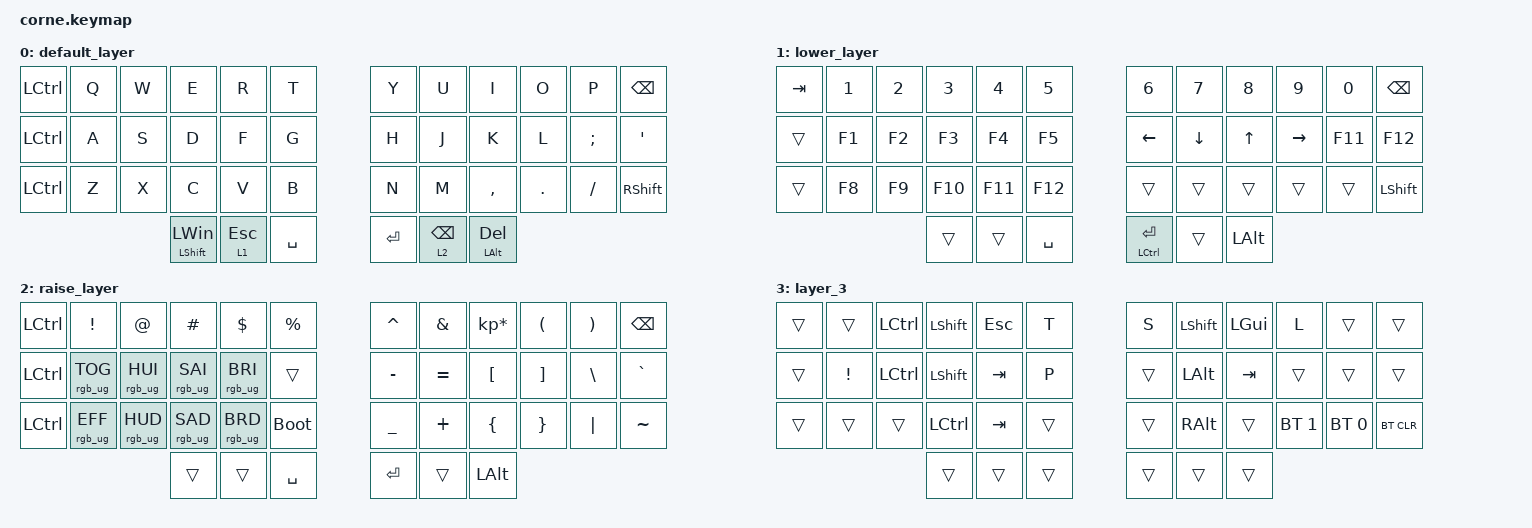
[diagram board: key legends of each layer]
/*
 * Copyright (c) 2020 The ZMK Contributors
 *
 * SPDX-License-Identifier: MIT
 */

#include <behaviors.dtsi>
#include <dt-bindings/zmk/bt.h>
#include <dt-bindings/zmk/keys.h>
#include <dt-bindings/zmk/rgb.h>

&led_strip { chain-length = <27>; };

/ {
    behaviors {
        esc_on_raise: esc_on_raise {
            compatible = "zmk,behavior-hold-tap";
            label = "ESC_ON_RAISE";
            bindings = <&mo>, <&kp>;

            #binding-cells = <2>;
            tapping-term-ms = <150>;
            quick-tap-ms = <50>;
        };

        bkspace_on_tab: bkspace_on_tab {
            compatible = "zmk,behavior-hold-tap";
            label = "BKSPACE_ON_TAB";
            bindings = <&mo>, <&kp>;

            #binding-cells = <2>;
            tapping-term-ms = <150>;
            quick-tap-ms = <50>;
        };

        lguiandshift: lguiandshift {
            compatible = "zmk,behavior-hold-tap";
            label = "LGUIANDSHIFT";
            bindings = <&kp>, <&kp>;

            #binding-cells = <2>;
            tapping-term-ms = <130>;
            quick-tap-ms = <35>;
        };

        control_on_enter: control_on_enter {
            compatible = "zmk,behavior-hold-tap";
            label = "CONTROL_ON_ENTER";
            bindings = <&kp>, <&kp>;

            #binding-cells = <2>;
            tapping-term-ms = <150>;
            flavor = "tap-preferred";
            quick-tap-ms = <50>;
        };

        alt_and_del: alt_and_del {
            compatible = "zmk,behavior-hold-tap";
            label = "ALT_AND_DEL";
            bindings = <&kp>, <&kp>;

            #binding-cells = <2>;
            tapping-term-ms = <150>;
            quick-tap-ms = <50>;
        };
    };

    combos {
        compatible = "zmk,combos";

        layer_3 {
            bindings = <&mo 3>;
            key-positions = <37 40>;
        };
    };

    keymap {
        compatible = "zmk,keymap";

        default_layer {
            // -----------------------------------------------------------------------------------------
            // |  TAB |  Q  |  W  |  E  |  R  |  T  |   |  Y  |  U   |  I  |  O  |  P  | BKSP |
            // | CTRL |  A  |  S  |  D  |  F  |  G  |   |  H  |  J   |  K  |  L  |  ;  |  '   |
            // | SHFT |  Z  |  X  |  C  |  V  |  B  |   |  N  |  M   |  ,  |  .  |  /  | SHFT |
            //                    | GUI | LWR | ENT |   | SPC | RSE  | ALT |

            bindings = <
&kp LEFT_CONTROL  &kp Q  &kp W  &kp E                     &kp R                &kp T        &kp Y       &kp U                        &kp I                         &kp O    &kp P     &kp BSPC
&kp LEFT_CONTROL  &kp A  &kp S  &kp D                     &kp F                &kp G        &kp H       &kp J                        &kp K                         &kp L    &kp SEMI  &kp SQT
&kp LEFT_CONTROL  &kp Z  &kp X  &kp C                     &kp V                &kp B        &kp N       &kp M                        &kp COMMA                     &kp DOT  &kp FSLH  &kp RSHFT
                                &lguiandshift LSHFT LWIN  &esc_on_raise 1 ESC  &kp SPACE    &kp RETURN  &bkspace_on_tab 2 BACKSPACE  &alt_and_del LEFT_ALT DELETE
            >;
        };

        lower_layer {
            // -----------------------------------------------------------------------------------------
            // |  TAB |  1    |  2  |  3  |  4  |  5  |   |  6  |  7  |  8  |  9  |  0  | BKSP |
            // | LCTRL| BTCLR | BT0 | BT1 | BT2 | BT3 |   | LFT | DWN |  UP | RGT |     |      |
            // | ESC  |       | HOME| PGUP| PGDN| END |   |     |     |     |     |     |      |
            //                      | GUI |     | SPC |   | ENT |     | ALT |

            bindings = <
&kp TAB  &kp N1  &kp N2  &kp N3   &kp N4   &kp N5       &kp N6                                &kp N7    &kp N8    &kp N9     &kp N0   &kp BSPC
&trans   &kp F1  &kp F2  &kp F3   &kp F4   &kp F5       &kp LEFT                              &kp DOWN  &kp UP    &kp RIGHT  &kp F11  &kp F12
&trans   &kp F8  &kp F9  &kp F10  &kp F11  &kp F12      &trans                                &trans    &trans    &trans     &trans   &kp LEFT_SHIFT
                         &trans   &trans   &kp SPACE    &control_on_enter LEFT_CONTROL ENTER  &trans    &kp LALT
            >;
        };

        raise_layer {
            // -----------------------------------------------------------------------------------------
            // |  TAB |   !   |   @   |   #   |   $   |   %   |   |  ^  |  &  |  *  |  (  |  )  | BKSP |
            // | CTRL |RGB_TOG|RGB_HUI|RGB_SAI|RGB_VAI|       |   |  -  |  =  |  [  |  ]  |  \  |  `   |
            // | SHFT |RGB_MOD|RGB_HUD|RGB_SAD|RGB_VAD|QK_BOOT|   |  _  |  +  |  {  |  }  | "|" |  ~   |
            //                            | GUI |     |  SPC  |   | ENT |     | ALT |

            bindings = <
&kp LEFT_CONTROL  &kp EXCL         &kp AT           &kp HASH         &kp DLLR         &kp PRCNT      &kp CARET  &kp AMPS   &kp KP_MULTIPLY  &kp LPAR  &kp RPAR  &kp BSPC
&kp LEFT_CONTROL  &rgb_ug RGB_TOG  &rgb_ug RGB_HUI  &rgb_ug RGB_SAI  &rgb_ug RGB_BRI  &trans         &kp MINUS  &kp EQUAL  &kp LBKT         &kp RBKT  &kp BSLH  &kp GRAVE
&kp LEFT_CONTROL  &rgb_ug RGB_EFF  &rgb_ug RGB_HUD  &rgb_ug RGB_SAD  &rgb_ug RGB_BRD  &bootloader    &kp UNDER  &kp PLUS   &kp LBRC         &kp RBRC  &kp PIPE  &kp TILDE
                                                    &trans           &trans           &kp SPACE      &kp RET    &trans     &kp LALT
            >;
        };

        layer_3 {
            bindings = <
&trans  &trans           &kp LEFT_CONTROL  &kp LEFT_SHIFT    &kp ESCAPE  &kp T     &kp S   &kp LEFT_SHIFT  &kp LEFT_GUI  &kp L         &trans        &trans
&trans  &kp EXCLAMATION  &kp LEFT_CONTROL  &kp LEFT_SHIFT    &kp TAB     &kp P     &trans  &kp LEFT_ALT    &kp TAB       &trans        &trans        &trans
&trans  &trans           &trans            &kp LEFT_CONTROL  &kp TAB     &trans    &trans  &kp RIGHT_ALT   &trans        &bt BT_SEL 1  &bt BT_SEL 0  &bt BT_CLR
                                           &trans            &trans      &trans    &trans  &trans          &trans
            >;
        };
    };
};
